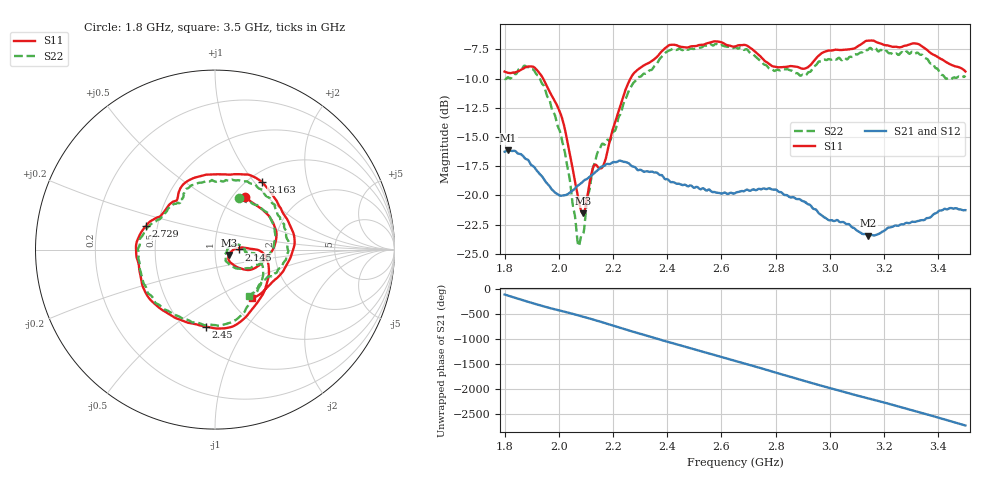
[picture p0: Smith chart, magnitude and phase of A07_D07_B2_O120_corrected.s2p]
! Created with skrf 1.9.0 (http://scikit-rf.org).
# Hz S RI R 50.0
!freq ReS11 ImS11 ReS21 ImS21 ReS12 ImS12 ReS22 ImS22
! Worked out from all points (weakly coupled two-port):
!   1601 points, 1.8 GHz to 3.5 GHz, reference 50 ohm
!   highest |S21| = -16.16 dB at 1.814 GHz (marker M1); lowest = -23.5 dB at 3.142 GHz (marker M2)
!   lowest |S11| = -21.5 dB at 2.09 GHz (marker M3), VSWR 1.18, Z = 58.4 - j3.46 ohm
!   |S11| at or under -10 dB: 1.942 GHz to 2.264 GHz (322.2 MHz wide, 15.3 % of centre)
!   |S22| runs from -24.3 to -7.0 dB; largest |S21 - S12| = 0.0029
!   S11 on the Smith chart (normalised r, x): 1.8 GHz: 1.13, +0.75; 2.145 GHz: 1.30, +0.00; 2.45 GHz: 0.63, -0.66; 2.729 GHz: 0.43, +0.14; 3.163 GHz: 1.16, +1.10; 3.5 GHz: 1.27, -0.77
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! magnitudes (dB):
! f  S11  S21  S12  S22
! 1.8 GHz  -9.4  -16.3  -16.3  -10.0
! 1.814 GHz  -9.5  -16.2  -16.2  -9.9
! 1.881 GHz  -9.0  -16.9  -16.9  -9.0
! 1.943 GHz  -10.1  -18.5  -18.5  -10.6
! 2.013 GHz  -13.4  -20.0  -20.0  -15.4
! 2.069 GHz  -19.9  -19.2  -19.2  -23.9
! 2.084 GHz  -21.4  -18.9  -18.9  -23.4
! 2.09 GHz  -21.5  -18.8  -18.8  -23.2
! 2.125 GHz  -17.7  -18.2  -18.2  -17.7
! 2.145 GHz  -17.6  -17.8  -17.8  -16.2
! 2.168 GHz  -17.2  -17.5  -17.5  -15.7
! 2.265 GHz  -10.0  -17.4  -17.4  -10.8
! 2.367 GHz  -8.0  -18.2  -18.1  -8.5
! 2.45 GHz  -7.3  -19.1  -19.1  -7.5
! 2.65 GHz  -7.3  -19.8  -19.8  -7.3
! 2.729 GHz  -7.8  -19.5  -19.6  -8.2
! 2.934 GHz  -8.7  -21.0  -21.0  -9.2
! 3.142 GHz  -6.8  -23.5  -23.4  -7.5
! 3.163 GHz  -6.8  -23.4  -23.4  -7.5
! 3.217 GHz  -7.2  -22.8  -22.7  -7.8
! 3.324 GHz  -7.0  -22.2  -22.2  -7.8
! 3.5 GHz  -9.4  -21.3  -21.3  -9.9
